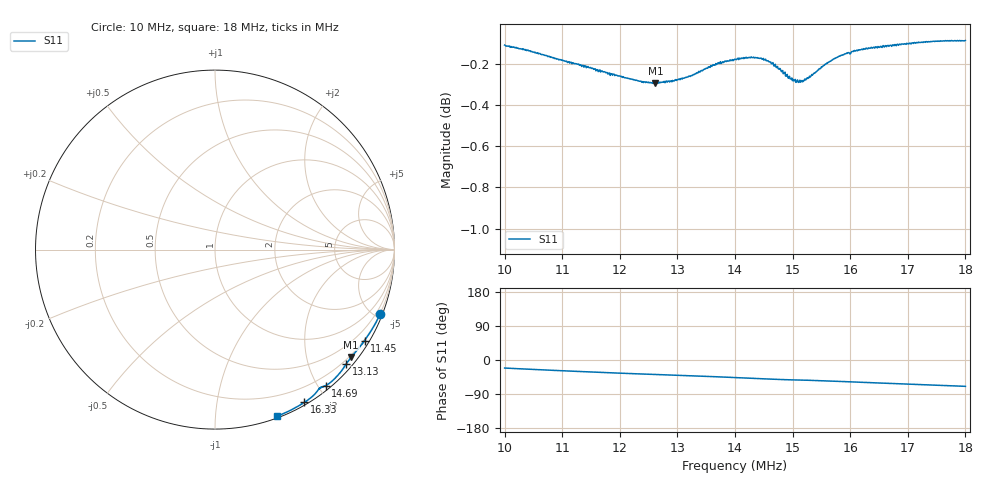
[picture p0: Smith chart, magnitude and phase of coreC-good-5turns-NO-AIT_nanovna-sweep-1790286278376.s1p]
! NanoVNA Web complex sweep
! Processing: unaveraged complex samples; linear segment spacing; no smoothing
# Hz S RI R 50
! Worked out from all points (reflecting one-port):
!   808 points, 10 MHz to 18 MHz, reference 50 ohm
!   lowest |S11| = -0.3 dB at 12.62 MHz (marker M1), VSWR 59.01, Z = 7.88 - j144 ohm
!   phase of S11 starts at -21 deg and turns -48 deg over the sweep
!   S11 on the Smith chart (normalised r, x): 10 MHz: 0.18, -5.33; 11.45 MHz: 0.17, -3.56; 13.13 MHz: 0.12, -2.67; 14.69 MHz: 0.06, -2.10; 16.33 MHz: 0.03, -1.74; 18 MHz: 0.02, -1.44
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1e7  0.9207 -0.3575
1.003965e7  0.9185 -0.3619
1.036678e7  0.9004 -0.3998
1.061461e7  0.8856 -0.4266
1.100121e7  0.8621 -0.4648
1.14473e7  0.834 -0.5069
1.200243e7  0.7977 -0.5532
1.236921e7  0.7741 -0.581
1.261703e7  0.7594 -0.5981
1.300364e7  0.7385 -0.627
1.313251e7  0.7315 -0.6366
1.357859e7  0.707 -0.6735
1.400485e7  0.6764 -0.7089
1.422294e7  0.6589 -0.7261
1.445094e7  0.6394 -0.7434
1.468885e7  0.6161 -0.7577
1.48772e7  0.5985 -0.7642
1.500606e7  0.5895 -0.7689
1.514485e7  0.5823 -0.7729
1.52638e7  0.5774 -0.7786
1.552154e7  0.5634 -0.7969
1.572971e7  0.5487 -0.8124
1.600728e7  0.5262 -0.8303
1.633441e7  0.4979 -0.851
1.700849e7  0.4386 -0.8859
1.752397e7  0.3915 -0.9093
1.796014e7  0.3506 -0.9259
1.799979e7  0.3468 -0.9275
